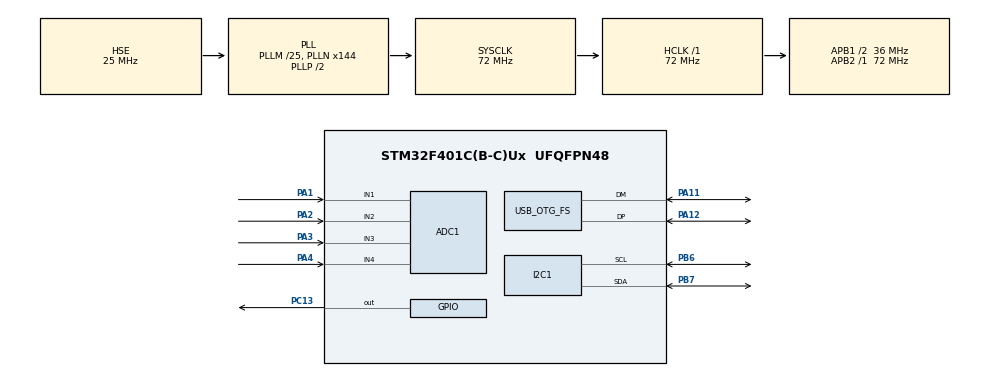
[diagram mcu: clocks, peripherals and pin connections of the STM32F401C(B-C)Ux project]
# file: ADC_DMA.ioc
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ADC1.Channel-0\#ChannelRegularConversion=ADC_CHANNEL_4
ADC1.Channel-1\#ChannelRegularConversion=ADC_CHANNEL_1
ADC1.Channel-2\#ChannelRegularConversion=ADC_CHANNEL_2
ADC1.Channel-3\#ChannelRegularConversion=ADC_CHANNEL_3
ADC1.ContinuousConvMode=ENABLE
ADC1.DMAContinuousRequests=ENABLE
ADC1.EOCSelection=ADC_EOC_SINGLE_CONV
ADC1.NbrOfConversion=4
ADC1.NbrOfConversionFlag=1
ADC1.Rank-0\#ChannelRegularConversion=1
ADC1.Rank-1\#ChannelRegularConversion=2
ADC1.Rank-2\#ChannelRegularConversion=3
ADC1.Rank-3\#ChannelRegularConversion=4
ADC1.SamplingTime-0\#ChannelRegularConversion=ADC_SAMPLETIME_28CYCLES
ADC1.SamplingTime-1\#ChannelRegularConversion=ADC_SAMPLETIME_28CYCLES
ADC1.SamplingTime-2\#ChannelRegularConversion=ADC_SAMPLETIME_28CYCLES
ADC1.SamplingTime-3\#ChannelRegularConversion=ADC_SAMPLETIME_28CYCLES
ADC1.ScanConvMode=ENABLE
ADC1.master=1
Dma.ADC1.0.Direction=DMA_PERIPH_TO_MEMORY
Dma.ADC1.0.FIFOMode=DMA_FIFOMODE_DISABLE
Dma.ADC1.0.Instance=DMA2_Stream0
Dma.ADC1.0.MemDataAlignment=DMA_MDATAALIGN_HALFWORD
Dma.ADC1.0.MemInc=DMA_MINC_ENABLE
Dma.ADC1.0.Mode=DMA_CIRCULAR
Dma.ADC1.0.PeriphDataAlignment=DMA_PDATAALIGN_HALFWORD
Dma.ADC1.0.PeriphInc=DMA_PINC_DISABLE
Dma.ADC1.0.Priority=DMA_PRIORITY_HIGH
Dma.Request0=ADC1
I2C1.I2C_Mode=I2C_Fast
Mcu.Family=STM32F4
Mcu.Name=STM32F401C(B-C)Ux
Mcu.Package=UFQFPN48
NVIC.DMA2_Stream0_IRQn=true\:0\:0\:false\:false\:true\:false\:true\:true
NVIC.OTG_FS_IRQn=true\:0\:0\:false\:false\:true\:false\:true\:true
NVIC.PriorityGroup=NVIC_PRIORITYGROUP_4
PA1.Signal=ADCx_IN1
PA11.Mode=Device_Only
PA11.Signal=USB_OTG_FS_DM
PA12.Mode=Device_Only
PA12.Signal=USB_OTG_FS_DP
PA2.Signal=ADCx_IN2
PA3.Signal=ADCx_IN3
PA4.Signal=ADCx_IN4
PB6.Mode=I2C
PB6.Signal=I2C1_SCL
PB7.Mode=I2C
PB7.Signal=I2C1_SDA
PC13-ANTI_TAMP.Signal=GPIO_Output
PH0\ -\ OSC_IN.Mode=HSE-External-Oscillator
PH0\ -\ OSC_IN.Signal=RCC_OSC_IN
PH1\ -\ OSC_OUT.Mode=HSE-External-Oscillator
PH1\ -\ OSC_OUT.Signal=RCC_OSC_OUT
ProjectManager.HeapSize=0x200
ProjectManager.StackSize=0x400
ProjectManager.TargetToolchain=STM32CubeIDE
RCC.48MHZClocksFreq_Value=48000000
RCC.AHBFreq_Value=72000000
RCC.APB1CLKDivider=RCC_HCLK_DIV2
RCC.APB1Freq_Value=36000000
RCC.APB1TimFreq_Value=72000000
RCC.APB2Freq_Value=72000000
RCC.APB2TimFreq_Value=72000000
RCC.CortexFreq_Value=72000000
RCC.HCLKFreq_Value=72000000
RCC.HSE_VALUE=25000000
RCC.HSI_VALUE=16000000
RCC.LSE_VALUE=32768
RCC.PLLM=25
RCC.PLLN=144
RCC.PLLQ=3
RCC.SYSCLKFreq_VALUE=72000000
RCC.SYSCLKSource=RCC_SYSCLKSOURCE_PLLCLK
RCC.VCOOutputFreq_Value=144000000
SH.ADCx_IN1.0=ADC1_IN1,IN1
SH.ADCx_IN2.0=ADC1_IN2,IN2
SH.ADCx_IN3.0=ADC1_IN3,IN3
SH.ADCx_IN4.0=ADC1_IN4,IN4
USB_DEVICE.CLASS_NAME_FS=CDC
USB_DEVICE.VirtualMode=Cdc
USB_DEVICE.VirtualModeFS=Cdc_FS
USB_OTG_FS.VirtualMode=Device_Only
VP_USB_DEVICE_VS_USB_DEVICE_CDC_FS.Mode=CDC_FS
board=custom

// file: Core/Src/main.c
/* USER CODE BEGIN Header */
/**
  ******************************************************************************
  * @file           : main.c
  * @brief          : Main program body
  ******************************************************************************
  * @attention
  *
  * Copyright (c) 2026 STMicroelectronics.
  * All rights reserved.
  *
  * This software is licensed under terms that can be found in the LICENSE file
  * in the root directory of this software component.
  * If no LICENSE file comes with this software, it is provided AS-IS.
  *
  ******************************************************************************
  */
/* USER CODE END Header */
#include "main.h"
#include "usb_device.h"

/* USER CODE BEGIN Includes */
#include "usbd_cdc_if.h"
#include "ssd1306.h"
#include "fonts.h"
/* USER CODE END Includes */

/* USER CODE BEGIN PTD */
uint16_t adc_values[4];

volatile uint8_t dma_complete = 0;
volatile uint8_t dma_error    = 0;
/* USER CODE END PTD */

ADC_HandleTypeDef hadc1;
DMA_HandleTypeDef hdma_adc1;

I2C_HandleTypeDef hi2c1;

void SystemClock_Config(void);
static void MX_GPIO_Init(void);
static void MX_DMA_Init(void);
static void MX_ADC1_Init(void);
static void MX_I2C1_Init(void);

/* USER CODE BEGIN 0 */
void print(const char *msg)
{
	while(CDC_Transmit_FS((uint8_t *)msg,strlen(msg)) == USBD_BUSY)
	{
		HAL_Delay(1);
	}
}
static void handleAdcDmaError(void)
{
    if (!dma_error) return;
   // CDC_Print("DMA Error Detected. Restarting ADC DMA.\r\n");
    HAL_ADC_Stop_DMA(&hadc1);
    if (HAL_ADC_Start_DMA(&hadc1, (uint32_t *)adc_values, 4) != HAL_OK) {
     //   CDC_Print("ADC DMA Restart Failed\r\n");
    	Error_Handler();
    }

    dma_error = 0;
}

//void HAL_ADC_ConvCpltCallback(ADC_HandleTypeDef *hadc)
//{
//    if (hadc->Instance == ADC1)
//    {
//        adc_dma_complete = 1;
//    }
//}

void HAL_ADC_ConvCpltCallback(ADC_HandleTypeDef *hadc)
{
   if (hadc->Instance == ADC1) dma_complete = 1;
}

void HAL_ADC_ErrorCallback(ADC_HandleTypeDef *hadc)
{
   if (hadc->Instance == ADC1) dma_error = 1;
}
char msg[256];
/* USER CODE END 0 */

int main(void)
{

  /* MCU Configuration--------------------------------------------------------*/

  /* Reset of all peripherals, Initializes the Flash interface and the Systick. */
  HAL_Init();

  /* Configure the system clock */
  SystemClock_Config();

  /* Initialize all configured peripherals */
  MX_GPIO_Init();
  MX_DMA_Init();
  MX_ADC1_Init();
  MX_USB_DEVICE_Init();
  MX_I2C1_Init();
  /* USER CODE BEGIN 2 */
  ssd1306_Init(&hi2c1);

         ssd1306_Fill(Black);

         ssd1306_SetCursor(0, 10);
             ssd1306_WriteString("BharatPilot ", Font_11x18, White);

         ssd1306_UpdateScreen(&hi2c1);
  HAL_Delay(1000);
  if (HAL_ADC_Start_DMA(&hadc1,
                        (uint32_t *)adc_values,
                        4) != HAL_OK)
  {
      Error_Handler();
  }

  /* USER CODE END 2 */

  /* Infinite loop */
  /* USER CODE BEGIN WHILE */

  while (1)
  {

	//  handleAdcDmaError();
	  if(dma_complete)
	  {
		  dma_complete =0;
	  }
	  snprintf(msg,sizeof(msg),"ADC values : %3u | %3u | %3u | %3u | \r\n",adc_values[0],adc_values[1],adc_values[2],adc_values[3]);
	  print(msg);
	  HAL_GPIO_TogglePin(GPIOC, GPIO_PIN_13);
	      HAL_Delay(500);
    /* USER CODE END WHILE */

  }
}

void SystemClock_Config(void)
{
  RCC_OscInitTypeDef RCC_OscInitStruct = {0};
  RCC_ClkInitTypeDef RCC_ClkInitStruct = {0};

  /** Configure the main internal regulator output voltage
  */
  __HAL_RCC_PWR_CLK_ENABLE();
  __HAL_PWR_VOLTAGESCALING_CONFIG(PWR_REGULATOR_VOLTAGE_SCALE2);

  /** Initializes the RCC Oscillators according to the specified parameters
  * in the RCC_OscInitTypeDef structure.
  */
  RCC_OscInitStruct.OscillatorType = RCC_OSCILLATORTYPE_HSE;
  RCC_OscInitStruct.HSEState = RCC_HSE_ON;
  RCC_OscInitStruct.PLL.PLLState = RCC_PLL_ON;
  RCC_OscInitStruct.PLL.PLLSource = RCC_PLLSOURCE_HSE;
  RCC_OscInitStruct.PLL.PLLM = 25;
  RCC_OscInitStruct.PLL.PLLN = 144;
  RCC_OscInitStruct.PLL.PLLP = RCC_PLLP_DIV2;
  RCC_OscInitStruct.PLL.PLLQ = 3;
  if (HAL_RCC_OscConfig(&RCC_OscInitStruct) != HAL_OK)
  {
    Error_Handler();
  }

  /** Initializes the CPU, AHB and APB buses clocks
  */
  RCC_ClkInitStruct.ClockType = RCC_CLOCKTYPE_HCLK|RCC_CLOCKTYPE_SYSCLK
                              |RCC_CLOCKTYPE_PCLK1|RCC_CLOCKTYPE_PCLK2;
  RCC_ClkInitStruct.SYSCLKSource = RCC_SYSCLKSOURCE_PLLCLK;
  RCC_ClkInitStruct.AHBCLKDivider = RCC_SYSCLK_DIV1;
  RCC_ClkInitStruct.APB1CLKDivider = RCC_HCLK_DIV2;
  RCC_ClkInitStruct.APB2CLKDivider = RCC_HCLK_DIV1;

  if (HAL_RCC_ClockConfig(&RCC_ClkInitStruct, FLASH_LATENCY_2) != HAL_OK)
  {
    Error_Handler();
  }
}

static void MX_ADC1_Init(void)
{

  ADC_ChannelConfTypeDef sConfig = {0};

  /** Configure the global features of the ADC (Clock, Resolution, Data Alignment and number of conversion)
  */
  hadc1.Instance = ADC1;
  hadc1.Init.ClockPrescaler = ADC_CLOCK_SYNC_PCLK_DIV2;
  hadc1.Init.Resolution = ADC_RESOLUTION_12B;
  hadc1.Init.ScanConvMode = ENABLE;
  hadc1.Init.ContinuousConvMode = ENABLE;
  hadc1.Init.DiscontinuousConvMode = DISABLE;
  hadc1.Init.ExternalTrigConvEdge = ADC_EXTERNALTRIGCONVEDGE_NONE;
  hadc1.Init.ExternalTrigConv = ADC_SOFTWARE_START;
  hadc1.Init.DataAlign = ADC_DATAALIGN_RIGHT;
  hadc1.Init.NbrOfConversion = 4;
  hadc1.Init.DMAContinuousRequests = ENABLE;
  hadc1.Init.EOCSelection = ADC_EOC_SINGLE_CONV;
  if (HAL_ADC_Init(&hadc1) != HAL_OK)
  {
    Error_Handler();
  }

  /** Configure for the selected ADC regular channel its corresponding rank in the sequencer and its sample time.
  */
  sConfig.Channel = ADC_CHANNEL_4;
  sConfig.Rank = 1;
  sConfig.SamplingTime = ADC_SAMPLETIME_28CYCLES;
  if (HAL_ADC_ConfigChannel(&hadc1, &sConfig) != HAL_OK)
  {
    Error_Handler();
  }

  /** Configure for the selected ADC regular channel its corresponding rank in the sequencer and its sample time.
  */
  sConfig.Channel = ADC_CHANNEL_1;
  sConfig.Rank = 2;
  if (HAL_ADC_ConfigChannel(&hadc1, &sConfig) != HAL_OK)
  {
    Error_Handler();
  }

  /** Configure for the selected ADC regular channel its corresponding rank in the sequencer and its sample time.
  */
  sConfig.Channel = ADC_CHANNEL_2;
  sConfig.Rank = 3;
  if (HAL_ADC_ConfigChannel(&hadc1, &sConfig) != HAL_OK)
  {
    Error_Handler();
  }

  /** Configure for the selected ADC regular channel its corresponding rank in the sequencer and its sample time.
  */
  sConfig.Channel = ADC_CHANNEL_3;
  sConfig.Rank = 4;
  if (HAL_ADC_ConfigChannel(&hadc1, &sConfig) != HAL_OK)
  {
    Error_Handler();
  }

}

static void MX_I2C1_Init(void)
{

  hi2c1.Instance = I2C1;
  hi2c1.Init.ClockSpeed = 400000;
  hi2c1.Init.DutyCycle = I2C_DUTYCYCLE_2;
  hi2c1.Init.OwnAddress1 = 0;
  hi2c1.Init.AddressingMode = I2C_ADDRESSINGMODE_7BIT;
  hi2c1.Init.DualAddressMode = I2C_DUALADDRESS_DISABLE;
  hi2c1.Init.OwnAddress2 = 0;
  hi2c1.Init.GeneralCallMode = I2C_GENERALCALL_DISABLE;
  hi2c1.Init.NoStretchMode = I2C_NOSTRETCH_DISABLE;
  if (HAL_I2C_Init(&hi2c1) != HAL_OK)
  {
    Error_Handler();
  }

}

static void MX_DMA_Init(void)
{

  /* DMA controller clock enable */
  __HAL_RCC_DMA2_CLK_ENABLE();

  /* DMA interrupt init */
  /* DMA2_Stream0_IRQn interrupt configuration */
  HAL_NVIC_SetPriority(DMA2_Stream0_IRQn, 0, 0);
  HAL_NVIC_EnableIRQ(DMA2_Stream0_IRQn);

}

static void MX_GPIO_Init(void)
{
  GPIO_InitTypeDef GPIO_InitStruct = {0};

  /* GPIO Ports Clock Enable */
  __HAL_RCC_GPIOC_CLK_ENABLE();
  __HAL_RCC_GPIOH_CLK_ENABLE();
  __HAL_RCC_GPIOA_CLK_ENABLE();
  __HAL_RCC_GPIOB_CLK_ENABLE();

  /*Configure GPIO pin Output Level */
  HAL_GPIO_WritePin(GPIOC, GPIO_PIN_13, GPIO_PIN_RESET);

  /*Configure GPIO pin : PC13 */
  GPIO_InitStruct.Pin = GPIO_PIN_13;
  GPIO_InitStruct.Mode = GPIO_MODE_OUTPUT_PP;
  GPIO_InitStruct.Pull = GPIO_NOPULL;
  GPIO_InitStruct.Speed = GPIO_SPEED_FREQ_LOW;
  HAL_GPIO_Init(GPIOC, &GPIO_InitStruct);

}

void Error_Handler(void)
{
  __disable_irq();
  while (1)
  {
  }
}
